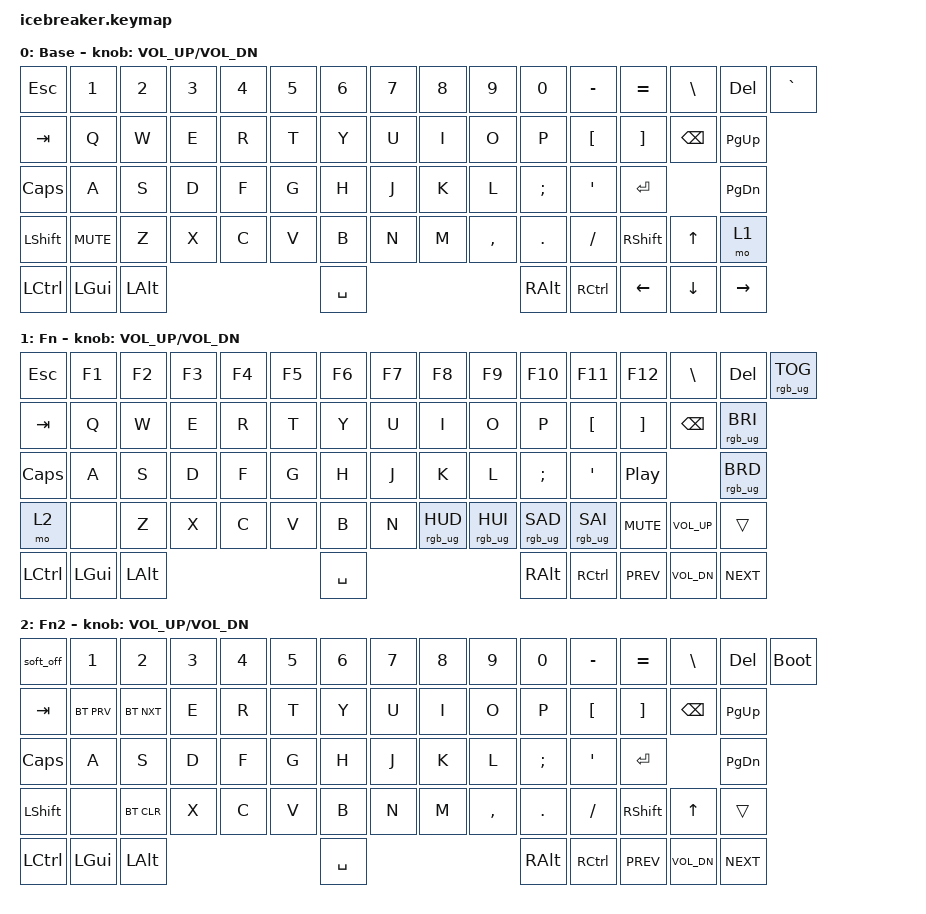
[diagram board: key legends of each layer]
/*
 * Copyright (c) 2020 The ZMK Contributors
 *
 * SPDX-License-Identifier: MIT
 */

#include <behaviors.dtsi>
#include <dt-bindings/zmk/keys.h>
#include <dt-bindings/zmk/bt.h>
#include <dt-bindings/zmk/rgb.h>
#include <dt-bindings/zmk/outputs.h>

#define DEFAULT 0
#define FN      1
#define FN2     2

&encoder {
	status = "okay";
};

/ {
	keymap {
		compatible = "zmk,keymap";

		default_layer {
			display-name = "Base";
			bindings = <
				&kp ESC   &kp N1    &kp N2    &kp N3   &kp N4   &kp N5  &kp N6    &kp N7   &kp N8    &kp N9    &kp N0    &kp MINUS  &kp EQUAL  &kp BSLH  &kp DEL   &kp GRAVE
				&kp TAB   &kp Q     &kp W     &kp E    &kp R    &kp T   &kp Y     &kp U    &kp I     &kp O     &kp P     &kp LBKT   &kp RBKT   &kp BSPC  &kp PG_UP
				&kp CAPS  &kp A     &kp S     &kp D    &kp F    &kp G   &kp H     &kp J    &kp K     &kp L     &kp SEMI  &kp SQT    &kp ENTER            &kp PG_DN
				&kp LSHFT &kp C_MUTE &kp Z    &kp X    &kp C    &kp V   &kp B     &kp N    &kp M     &kp COMMA &kp DOT   &kp SLASH  &kp RSHFT  &kp UP    &mo 1
				&kp LCTL  &kp LGUI  &kp LALT                            &kp SPACE                             &kp RALT  &kp RCTRL  &kp LEFT   &kp DOWN  &kp RIGHT
			>;
			sensor-bindings = <&inc_dec_kp C_VOL_UP C_VOL_DN>;
		};

		fn_layer {
			display-name = "Fn";
			bindings = <
				&kp ESC   &kp F1    &kp F2    &kp F3   &kp F4   &kp F5  &kp F6    &kp F7   &kp F8    &kp F9    &kp F10   &kp F11    &kp F12    &kp BSLH  &kp DEL   &rgb_ug RGB_TOG
				&kp TAB   &kp Q     &kp W     &kp E    &kp R    &kp T   &kp Y     &kp U    &kp I     &kp O     &kp P     &kp LBKT   &kp RBKT   &kp BSPC  &rgb_ug RGB_BRI
				&kp CAPS  &kp A     &kp S     &kp D    &kp F    &kp G   &kp H     &kp J    &kp K     &kp L     &kp SEMI  &kp SQT    &kp C_PP             &rgb_ug RGB_BRD
				&mo 2     &none     &kp Z     &kp X    &kp C    &kp V   &kp B     &kp N    &rgb_ug RGB_HUD &rgb_ug RGB_HUI &rgb_ug RGB_SAD &rgb_ug RGB_SAI &kp C_MUTE &kp C_VOL_UP &trans
				&kp LCTL  &kp LGUI  &kp LALT                            &kp SPACE                             &kp RALT  &kp RCTRL  &kp C_PREV &kp C_VOL_DN &kp C_NEXT
			>;
			sensor-bindings = <&inc_dec_kp C_VOL_UP C_VOL_DN>;
		};

		fn2_layer {
			display-name = "Fn2";
			bindings = <
				&soft_off &kp N1   &kp N2    &kp N3   &kp N4   &kp N5  &kp N6    &kp N7   &kp N8    &kp N9    &kp N0    &kp MINUS  &kp EQUAL  &kp BSLH  &kp DEL   &bootloader
				&kp TAB   &bt BT_PRV &bt BT_NXT &kp E   &kp R    &kp T   &kp Y     &kp U    &kp I     &kp O     &kp P     &kp LBKT   &kp RBKT   &kp BSPC  &kp PG_UP
				&kp CAPS  &kp A     &kp S     &kp D    &kp F    &kp G   &kp H     &kp J    &kp K     &kp L     &kp SEMI  &kp SQT    &kp ENTER            &kp PG_DN
				&kp LSHFT &none     &bt BT_CLR &kp X   &kp C    &kp V   &kp B     &kp N    &kp M     &kp COMMA &kp DOT   &kp SLASH  &kp RSHFT  &kp UP    &trans
				&kp LCTL  &kp LGUI  &kp LALT                            &kp SPACE                             &kp RALT  &kp RCTRL  &kp C_PREV &kp C_VOL_DN &kp C_NEXT
			>;
			sensor-bindings = <&inc_dec_kp C_VOL_UP C_VOL_DN>;
		};
	};
};
